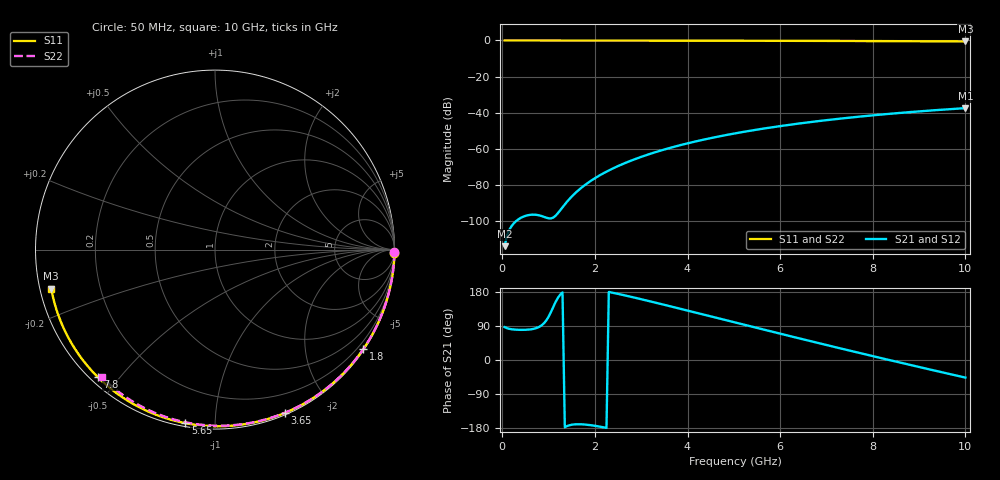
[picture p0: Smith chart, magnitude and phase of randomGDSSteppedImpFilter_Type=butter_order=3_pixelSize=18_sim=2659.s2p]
! freq	dB(S11)	phase(S11)	dB(S12)	phase(S12)
!  dB(S21)	phase(S21)	dB(S22)	phase(S22)
!S-par simulation data
#  GHz  S  DB  R 50
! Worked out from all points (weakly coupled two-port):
!   200 points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, 50 MHz to 10 GHz, reference 50 ohm
!   highest |S21| = -37.41 dB at 10 GHz (marker M1); lowest = -113.7 dB at 50 MHz (marker M2)
!   lowest |S11| = -0.6 dB at 10 GHz (marker M3), VSWR 31.26, Z = 1.62 - j5.87 ohm
!   |S11| at or under -10 dB: nowhere
!   |S22| runs from -0.4 to 0.0 dB; largest |S21 - S12| = 0
!   S11 on the Smith chart (normalised r, x): 50 MHz: open; 1.8 GHz: 0.03, -3.28; 3.65 GHz: 0.02, -1.51; 5.65 GHz: 0.02, -0.84; 7.8 GHz: 0.02, -0.44; 10 GHz: 0.03, -0.12
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0.05  -0.00 -1.0  -113.70 86.7  -113.70 86.7  -0.00 -0.8
0.45  -0.01 -8.6  -97.43 79.6  -97.43 79.6  -0.01 -6.8
0.85  -0.02 -16.2  -97.05 91.5  -97.05 91.5  -0.02 -12.9
1.3  -0.03 -24.7  -92.19 178.4  -92.19 178.4  -0.02 -19.6
1.75  -0.04 -33.0  -80.57 -170.0  -80.57 -170.0  -0.03 -26.2
1.8  -0.04 -33.9  -79.60 -170.5  -79.60 -170.5  -0.03 -26.9
2.1  -0.05 -39.4  -74.61 -175.7  -74.61 -175.7  -0.04 -31.3
2.3  -0.06 -43.1  -71.85 179.6  -71.85 179.6  -0.04 -34.2
2.5  -0.06 -46.7  -69.42 174.5  -69.42 174.5  -0.05 -37.1
2.9  -0.07 -53.8  -65.26 163.3  -65.26 163.3  -0.06 -42.9
3.4  -0.08 -62.6  -61.01 148.6  -61.01 148.6  -0.07 -49.9
3.65  -0.09 -66.9  -59.18 141.1  -59.18 141.1  -0.07 -53.4
4.35  -0.11 -78.7  -54.80 119.7  -54.80 119.7  -0.09 -62.9
5.05  -0.14 -90.1  -51.24 98.3  -51.24 98.3  -0.11 -72.2
5.65  -0.17 -99.7  -48.68 80.0  -48.68 80.0  -0.13 -80.0
6.15  -0.19 -107.5  -46.80 64.9  -46.80 64.9  -0.15 -86.3
6.7  -0.23 -116.0  -44.97 48.4  -44.97 48.4  -0.18 -93.1
7.25  -0.27 -124.4  -43.33 32.1  -43.33 32.1  -0.21 -99.7
7.8  -0.31 -132.7  -41.88 16.0  -41.88 16.0  -0.25 -106.3
8.35  -0.36 -141.0  -40.57 0.1  -40.57 0.1  -0.29 -112.7
9.2  -0.45 -154.0  -38.81 -24.1  -38.81 -24.1  -0.36 -122.4
10  -0.56 -166.6  -37.41 -46.5  -37.41 -46.5  -0.45 -131.5
